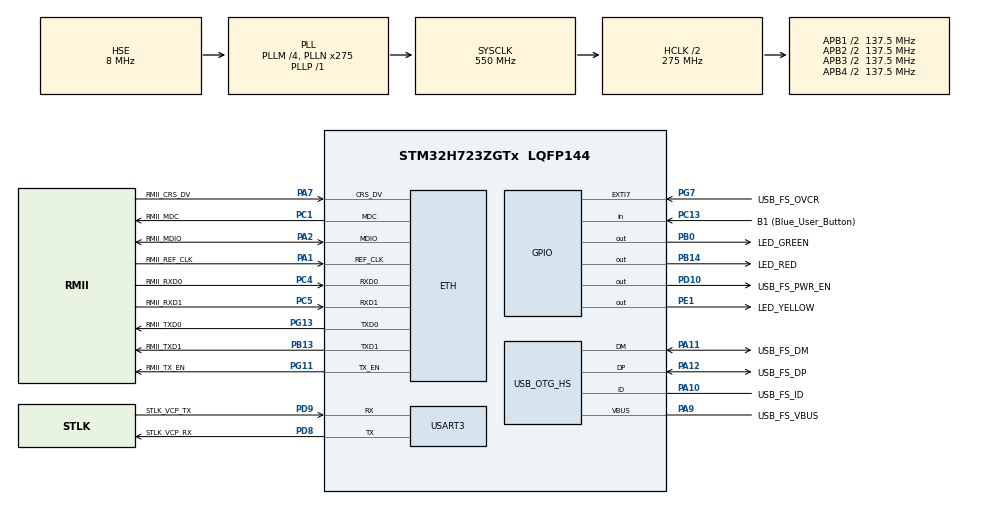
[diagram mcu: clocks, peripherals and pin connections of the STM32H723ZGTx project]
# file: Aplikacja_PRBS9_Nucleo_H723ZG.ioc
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CORTEX_M7.CPU_DCache=Enabled
CORTEX_M7.CPU_ICache=Enabled
CORTEX_M7.default_mode_Activation=1
ETH.MediaInterface=HAL_ETH_RMII_MODE
FREERTOS.Tasks01=defaultTask,24,128,StartDefaultTask,Default,NULL,Dynamic,NULL,NULL;Prbs9Task,24,128,StartTaskPrbs9,Default,NULL,Dynamic,NULL,NULL
FREERTOS.configUSE_NEWLIB_REENTRANT=1
Mcu.Family=STM32H7
Mcu.Name=STM32H723ZGTx
Mcu.Package=LQFP144
NVIC.PriorityGroup=NVIC_PRIORITYGROUP_4
NVIC.TIM6_DAC_IRQn=true\:15\:0\:false\:false\:true\:false\:false\:true\:true
NVIC.TimeBase=TIM6_DAC_IRQn
NVIC.TimeBaseIP=TIM6
PA1.GPIO_Label=RMII_REF_CLK
PA1.Mode=RMII
PA1.Signal=ETH_REF_CLK
PA10.GPIO_Label=USB_FS_ID
PA10.Mode=OTG/Dual-Role-Device-FS
PA10.Signal=USB_OTG_HS_ID
PA11.GPIO_Label=USB_FS_DM
PA11.Mode=OTG/Dual-Role-Device-FS
PA11.Signal=USB_OTG_HS_DM
PA12.GPIO_Label=USB_FS_DP
PA12.Mode=OTG/Dual-Role-Device-FS
PA12.Signal=USB_OTG_HS_DP
PA13(JTMS/SWDIO).GPIO_Label=SWDIO
PA13(JTMS/SWDIO).Mode=Trace_Asynchronous_SW
PA13(JTMS/SWDIO).Signal=DEBUG_JTMS-SWDIO
PA14(JTCK/SWCLK).GPIO_Label=SWCLK
PA14(JTCK/SWCLK).Mode=Trace_Asynchronous_SW
PA14(JTCK/SWCLK).Signal=DEBUG_JTCK-SWCLK
PA2.GPIO_Label=RMII_MDIO
PA2.Mode=RMII
PA2.Signal=ETH_MDIO
PA7.GPIO_Label=RMII_CRS_DV
PA7.Mode=RMII
PA7.Signal=ETH_CRS_DV
PA9.GPIO_Label=USB_FS_VBUS
PA9.Mode=Activate_VBUS_FS
PA9.Signal=USB_OTG_HS_VBUS
PB0.GPIO_Label=LED_GREEN
PB0.Signal=GPIO_Output
PB13.GPIO_Label=RMII_TXD1
PB13.Mode=RMII
PB13.Signal=ETH_TXD1
PB14.GPIO_Label=LED_RED
PB14.Signal=GPIO_Output
PB3(JTDO/TRACESWO).GPIO_Label=SWO
PB3(JTDO/TRACESWO).Mode=Trace_Asynchronous_SW
PB3(JTDO/TRACESWO).Signal=DEBUG_JTDO-SWO
PC1.GPIO_Label=RMII_MDC
PC1.Mode=RMII
PC1.Signal=ETH_MDC
PC13.GPIO_Label=B1 (Blue_User_Button)
PC13.Signal=GPIO_Input
PC14-OSC32_IN.Mode=LSE-External-Oscillator
PC14-OSC32_IN.Signal=RCC_OSC32_IN
PC15-OSC32_OUT.Mode=LSE-External-Oscillator
PC15-OSC32_OUT.Signal=RCC_OSC32_OUT
PC4.GPIO_Label=RMII_RXD0
PC4.Mode=RMII
PC4.Signal=ETH_RXD0
PC5.GPIO_Label=RMII_RXD1
PC5.Mode=RMII
PC5.Signal=ETH_RXD1
PD10.GPIO_Label=USB_FS_PWR_EN
PD10.Signal=GPIO_Output
PD8.GPIO_Label=STLK_VCP_RX
PD8.Mode=Asynchronous
PD8.Signal=USART3_TX
PD9.GPIO_Label=STLK_VCP_TX
PD9.Mode=Asynchronous
PD9.Signal=USART3_RX
PE1.GPIO_Label=LED_YELLOW
PE1.Signal=GPIO_Output
PG11.GPIO_Label=RMII_TX_EN
PG11.Mode=RMII
PG11.Signal=ETH_TX_EN
PG13.GPIO_Label=RMII_TXD0
PG13.Mode=RMII
PG13.Signal=ETH_TXD0
PG7.GPIO_Label=USB_FS_OVCR
PG7.Signal=GPXTI7
PH0-OSC_IN.GPIO_Label=MCO
PH0-OSC_IN.Mode=HSE-External-Clock-Source
PH0-OSC_IN.Signal=RCC_OSC_IN
PH1-OSC_OUT.Signal=RCC_OSC_OUT
ProjectManager.HeapSize=0x200
ProjectManager.StackSize=0x400
ProjectManager.TargetToolchain=STM32CubeIDE
RCC.ADCFreq_Value=76000000
RCC.APB1Freq_Value=137500000
RCC.APB2Freq_Value=137500000
RCC.APB3Freq_Value=137500000
RCC.APB4Freq_Value=137500000
RCC.CortexFreq_Value=550000000
RCC.D1PPRE=RCC_APB3_DIV2
RCC.D2PPRE1=RCC_APB1_DIV2
RCC.D2PPRE2=RCC_APB2_DIV2
RCC.D3PPRE=RCC_APB4_DIV2
RCC.DIVM1=4
RCC.DIVM2=1
RCC.DIVN1=275
RCC.DIVN2=19
RCC.DIVP1=1
RCC.DIVQ1=4
RCC.HCLKFreq_Value=275000000
RCC.HPRE=RCC_HCLK_DIV2
RCC.HSE_VALUE=8000000
RCC.PLLFRACN=0
RCC.PLLSourceVirtual=RCC_PLLSOURCE_HSE
RCC.SYSCLKFreq_VALUE=550000000
RCC.SYSCLKSource=RCC_SYSCLKSOURCE_PLLCLK
RCC.USBCLockSelection=RCC_USBCLKSOURCE_HSI48
RCC.USBFreq_Value=48000000
USART3.VirtualMode-Asynchronous=VM_ASYNC
VP_FREERTOS_VS_CMSIS_V2.Mode=CMSIS_V2
VP_SYS_VS_tim6.Mode=TIM6
board=NUCLEO-H723ZG

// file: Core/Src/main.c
/* USER CODE BEGIN Header */
/**
  ******************************************************************************
  * @file           : main.c
  * @brief          : Main program body
  ******************************************************************************
  * @attention
  *
  * Copyright (c) 2024 STMicroelectronics.
  * All rights reserved.
  *
  * This software is licensed under terms that can be found in the LICENSE file
  * in the root directory of this software component.
  * If no LICENSE file comes with this software, it is provided AS-IS.
  *
  ******************************************************************************
  */
/* USER CODE END Header */
#include "main.h"
#include "cmsis_os.h"
#include "eth.h"
#include "usart.h"
#include "usb_otg.h"
#include "gpio.h"

void SystemClock_Config(void);
static void MPU_Config(void);
void MX_FREERTOS_Init(void);

int main(void)
{

  /* MPU Configuration--------------------------------------------------------*/
  MPU_Config();

  /* Enable I-Cache---------------------------------------------------------*/
  SCB_EnableICache();

  /* Enable D-Cache---------------------------------------------------------*/
  SCB_EnableDCache();

  /* MCU Configuration--------------------------------------------------------*/

  /* Reset of all peripherals, Initializes the Flash interface and the Systick. */
  HAL_Init();

  /* Configure the system clock */
  SystemClock_Config();

  /* Initialize all configured peripherals */
  MX_GPIO_Init();
  MX_ETH_Init();
  MX_USART3_UART_Init();
  MX_USB_OTG_HS_USB_Init();

  /* Init scheduler */
  osKernelInitialize();  /* Call init function for freertos objects (in freertos.c) */
  MX_FREERTOS_Init();

  /* Start scheduler */
  osKernelStart();
  /* We should never get here as control is now taken by the scheduler */
  /* Infinite loop */
  while (1)
  {

  }
}

void SystemClock_Config(void)
{
  RCC_OscInitTypeDef RCC_OscInitStruct = {0};
  RCC_ClkInitTypeDef RCC_ClkInitStruct = {0};

  /** Supply configuration update enable
  */
  HAL_PWREx_ConfigSupply(PWR_LDO_SUPPLY);

  /** Configure the main internal regulator output voltage
  */
  __HAL_PWR_VOLTAGESCALING_CONFIG(PWR_REGULATOR_VOLTAGE_SCALE0);

  while(!__HAL_PWR_GET_FLAG(PWR_FLAG_VOSRDY)) {}

  /** Initializes the RCC Oscillators according to the specified parameters
  * in the RCC_OscInitTypeDef structure.
  */
  RCC_OscInitStruct.OscillatorType = RCC_OSCILLATORTYPE_HSI48|RCC_OSCILLATORTYPE_HSE;
  RCC_OscInitStruct.HSEState = RCC_HSE_BYPASS;
  RCC_OscInitStruct.HSI48State = RCC_HSI48_ON;
  RCC_OscInitStruct.PLL.PLLState = RCC_PLL_ON;
  RCC_OscInitStruct.PLL.PLLSource = RCC_PLLSOURCE_HSE;
  RCC_OscInitStruct.PLL.PLLM = 4;
  RCC_OscInitStruct.PLL.PLLN = 275;
  RCC_OscInitStruct.PLL.PLLP = 1;
  RCC_OscInitStruct.PLL.PLLQ = 4;
  RCC_OscInitStruct.PLL.PLLR = 2;
  RCC_OscInitStruct.PLL.PLLRGE = RCC_PLL1VCIRANGE_1;
  RCC_OscInitStruct.PLL.PLLVCOSEL = RCC_PLL1VCOWIDE;
  RCC_OscInitStruct.PLL.PLLFRACN = 0;
  if (HAL_RCC_OscConfig(&RCC_OscInitStruct) != HAL_OK)
  {
    Error_Handler();
  }

  /** Initializes the CPU, AHB and APB buses clocks
  */
  RCC_ClkInitStruct.ClockType = RCC_CLOCKTYPE_HCLK|RCC_CLOCKTYPE_SYSCLK
                              |RCC_CLOCKTYPE_PCLK1|RCC_CLOCKTYPE_PCLK2
                              |RCC_CLOCKTYPE_D3PCLK1|RCC_CLOCKTYPE_D1PCLK1;
  RCC_ClkInitStruct.SYSCLKSource = RCC_SYSCLKSOURCE_PLLCLK;
  RCC_ClkInitStruct.SYSCLKDivider = RCC_SYSCLK_DIV1;
  RCC_ClkInitStruct.AHBCLKDivider = RCC_HCLK_DIV2;
  RCC_ClkInitStruct.APB3CLKDivider = RCC_APB3_DIV2;
  RCC_ClkInitStruct.APB1CLKDivider = RCC_APB1_DIV2;
  RCC_ClkInitStruct.APB2CLKDivider = RCC_APB2_DIV2;
  RCC_ClkInitStruct.APB4CLKDivider = RCC_APB4_DIV2;

  if (HAL_RCC_ClockConfig(&RCC_ClkInitStruct, FLASH_LATENCY_3) != HAL_OK)
  {
    Error_Handler();
  }
}

/* MPU Configuration */

void MPU_Config(void)
{
  MPU_Region_InitTypeDef MPU_InitStruct = {0};

  /* Disables the MPU */
  HAL_MPU_Disable();

  /** Initializes and configures the Region and the memory to be protected
  */
  MPU_InitStruct.Enable = MPU_REGION_ENABLE;
  MPU_InitStruct.Number = MPU_REGION_NUMBER0;
  MPU_InitStruct.BaseAddress = 0x0;
  MPU_InitStruct.Size = MPU_REGION_SIZE_4GB;
  MPU_InitStruct.SubRegionDisable = 0x87;
  MPU_InitStruct.TypeExtField = MPU_TEX_LEVEL0;
  MPU_InitStruct.AccessPermission = MPU_REGION_NO_ACCESS;
  MPU_InitStruct.DisableExec = MPU_INSTRUCTION_ACCESS_DISABLE;
  MPU_InitStruct.IsShareable = MPU_ACCESS_SHAREABLE;
  MPU_InitStruct.IsCacheable = MPU_ACCESS_NOT_CACHEABLE;
  MPU_InitStruct.IsBufferable = MPU_ACCESS_NOT_BUFFERABLE;

  HAL_MPU_ConfigRegion(&MPU_InitStruct);
  /* Enables the MPU */
  HAL_MPU_Enable(MPU_PRIVILEGED_DEFAULT);

}

void HAL_TIM_PeriodElapsedCallback(TIM_HandleTypeDef *htim)
{
  if (htim->Instance == TIM6) {
    HAL_IncTick();
  }
}

void Error_Handler(void)
{
  __disable_irq();
  while (1)
  {
  }
}

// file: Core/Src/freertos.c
/* USER CODE BEGIN Header */
/**
  ******************************************************************************
  * File Name          : freertos.c
  * Description        : Code for freertos applications
  ******************************************************************************
  * @attention
  *
  * Copyright (c) 2024 STMicroelectronics.
  * All rights reserved.
  *
  * This software is licensed under terms that can be found in the LICENSE file
  * in the root directory of this software component.
  * If no LICENSE file comes with this software, it is provided AS-IS.
  *
  ******************************************************************************
  */
/* USER CODE END Header */

#include "FreeRTOS.h"
#include "task.h"
#include "main.h"
#include "cmsis_os.h"

/* USER CODE BEGIN Includes */
#include "Prbs9.h"
#include <stdio.h>
/* USER CODE END Includes */

/* Definitions for defaultTask */
osThreadId_t defaultTaskHandle;
const osThreadAttr_t defaultTask_attributes = {
  .name = "defaultTask",
  .stack_size = 128 * 4,
  .priority = (osPriority_t) osPriorityNormal,
};
/* Definitions for Prbs9Task */
osThreadId_t Prbs9TaskHandle;
const osThreadAttr_t Prbs9Task_attributes = {
  .name = "Prbs9Task",
  .stack_size = 128 * 4,
  .priority = (osPriority_t) osPriorityNormal,
};

void StartDefaultTask(void *argument);
void StartTaskPrbs9(void *argument);

void MX_FREERTOS_Init(void); /* (MISRA C 2004 rule 8.1) */

void MX_FREERTOS_Init(void) {

  /* Create the thread(s) */
  /* creation of defaultTask */
  defaultTaskHandle = osThreadNew(StartDefaultTask, NULL, &defaultTask_attributes);

  /* creation of Prbs9Task */
  Prbs9TaskHandle = osThreadNew(StartTaskPrbs9, NULL, &Prbs9Task_attributes);

}

void StartDefaultTask(void *argument)
{
  /* USER CODE BEGIN StartDefaultTask */
  /* Infinite loop */
  for(;;)
  {
	  HAL_GPIO_TogglePin(LED_GREEN_GPIO_Port, LED_GREEN_Pin);
	  osDelay(100);
  }
  /* USER CODE END StartDefaultTask */
}

void StartTaskPrbs9(void *argument)
{
  /* USER CODE BEGIN StartTaskPrbs9 */
	static prbs_t sprbs = {.start = 0x01} ;
	prbs_t *pPrbs9 = &sprbs;
	uint16_t outbit;
	uint16_t noofseq = 1;
	printf("Function for generate PRBS9\n");
	pPrbs9->lfsr = pPrbs9->start;
  /* Infinite loop */
  for(;;)
  {
	  outbit = prbs(pPrbs9);
      printf("New bit PRBS9= %d , seq= %d\n", outbit, noofseq++);
      if (noofseq > MLS_PRBS9) noofseq = 1;
      osDelay(100);
      HAL_GPIO_TogglePin(LED_RED_GPIO_Port, LED_RED_Pin);
  }
  /* USER CODE END StartTaskPrbs9 */
}
